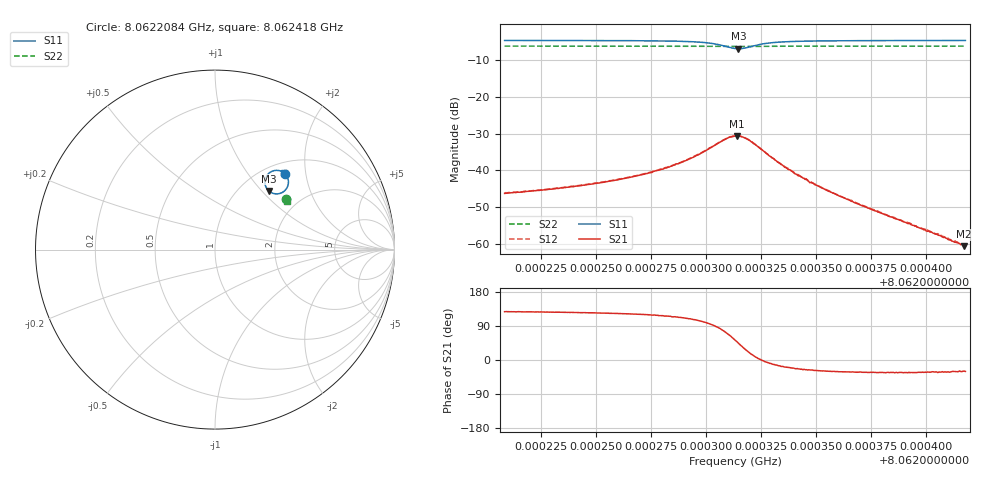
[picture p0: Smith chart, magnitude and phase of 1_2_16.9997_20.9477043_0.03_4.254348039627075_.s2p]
#  HZ  S  RI  R  50.00
! Rohde & Schwarz Vector Network Analyzer
! Rohde-Schwarz,ZNB20-2Port,1311601062101988,3.16
! Created: UTC 3/20/2024, 10:52:04 PM
! freq[Hz]  re:S11  im:S11  re:S21  im:S21  re:S12  im:S12  re:S22  im:S22
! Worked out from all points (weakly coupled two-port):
!   401 points, 8.0622084 GHz to 8.062418 GHz, reference 50 ohm
!   highest |S21| = -30.65 dB at 8.0623143 GHz (marker M1); lowest = -60.5 dB at 8.0624175 GHz (marker M2)
!   lowest |S11| = -7.1 dB at 8.0623148 GHz (marker M3), VSWR 2.60, Z = 67.2 + j54.8 ohm
!   |S11| at or under -10 dB: nowhere
!   |S22| runs from -6.4 to -6.3 dB; largest |S21 - S12| = 0.002
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8.06220843e9  0.3908 0.4221  -0.00297 0.00388  -0.00278 0.00408  0.3931 0.2793
8.06222781e9  0.3937 0.4187  -0.00328 0.00442  -0.00303 0.00466  0.3938 0.2781
8.06224353e9  0.3966 0.415  -0.00358 0.00513  -0.00332 0.00541  0.3944 0.2772
8.06226449e9  0.4014 0.4071  -0.00418 0.00677  -0.0038 0.00705  0.3952 0.2759
8.06227864e9  0.4058 0.3969  -0.00459 0.009  -0.00416 0.00937  0.3957 0.2747
8.06229069e9  0.4091 0.3794  -0.00473 0.0127  -0.00402 0.0131  0.3959 0.2734
8.06230221e9  0.4 0.3427  -0.00144 0.0202  -0.000182 0.0205  0.3953 0.2713
8.06230955e9  0.3568 0.3118  0.00905 0.0255  0.0107 0.0252  0.3932 0.2704
8.06231322e9  0.316 0.3165  0.0177 0.0233  0.0192 0.0222  0.3915 0.2711
8.06231426e9  0.3048 0.323  0.0199 0.0215  0.0214 0.0204  0.3911 0.2715
8.06231479e9  0.2995 0.3273  0.0208 0.0203  0.0223 0.0192  0.391 0.2716
8.06231898e9  0.2781 0.371  0.0244 0.0101  0.0251 0.00875  0.391 0.2738
8.06232684e9  0.3016 0.4264  0.0176 -0.00141  0.0176 -0.00236  0.393 0.2754
8.06233627e9  0.333 0.4407  0.0104 -0.00352  0.0103 -0.00412  0.3948 0.2751
8.06234832e9  0.3535 0.4407  0.00606 -0.00299  0.00591 -0.00344  0.3962 0.2742
8.06236299e9  0.3659 0.4378  0.00362 -0.00218  0.00351 -0.0024  0.397 0.2732
8.06238343e9  0.3746 0.4339  0.00199 -0.00131  0.00195 -0.00146  0.398 0.272
8.06240229e9  0.3795 0.4311  0.00125 -0.000781  0.0012 -0.000837  0.3989 0.2708
8.06240596e9  0.3803 0.4306  0.00112 -0.000697  0.00113 -0.000752  0.3989 0.2706
8.06241172e9  0.3813 0.43  0.000952 -0.000569  0.000914 -0.000661  0.3992 0.2702
8.06241748e9  0.3823 0.4292  0.000823 -0.000459  0.000822 -0.00051  0.3993 0.2701
8.06241801e9  0.3824 0.4291  0.000817 -0.000476  0.0008 -0.000541  0.3994 0.27
